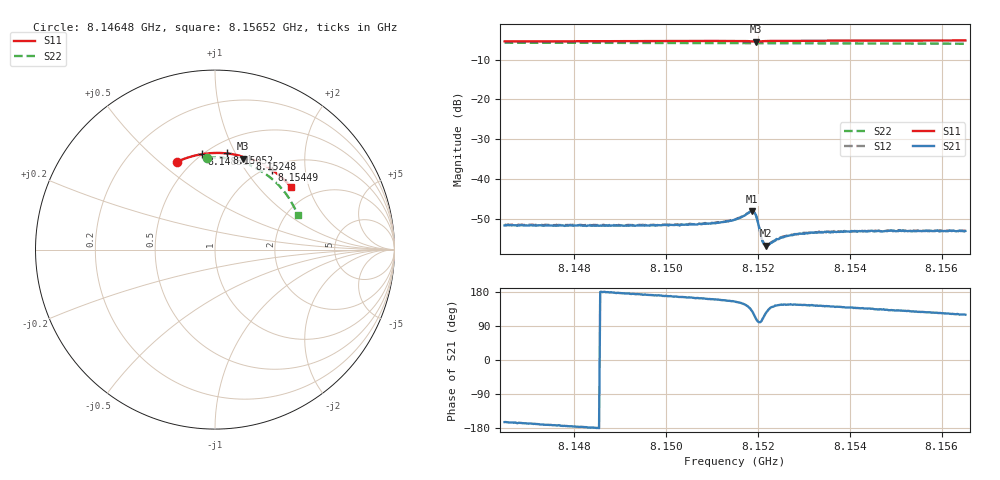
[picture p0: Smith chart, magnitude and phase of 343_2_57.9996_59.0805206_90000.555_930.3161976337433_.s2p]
#  HZ  S  RI  R  50.00
! Rohde & Schwarz Vector Network Analyzer
! Rohde-Schwarz,ZNB20-2Port,1311601062101988,3.16
! Created: UTC 3/21/2024, 1:05:42 AM
! freq[Hz]  re:S11  im:S11  re:S21  im:S21  re:S12  im:S12  re:S22  im:S22
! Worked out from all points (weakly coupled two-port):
!   401 points, 8.14648 GHz to 8.15652 GHz, reference 50 ohm
!   highest |S21| = -48.01 dB at 8.15188 GHz (marker M1); lowest = -56.7 dB at 8.15218 GHz (marker M2)
!   lowest |S11| = -5.5 dB at 8.15195 GHz (marker M3), VSWR 3.26, Z = 37.2 + j52.5 ohm
!   |S11| at or under -10 dB: nowhere
!   |S22| runs from -6.0 to -5.8 dB; largest |S21 - S12| = 0.00013
!   S11 on the Smith chart (normalised r, x): 8.14648 GHz: 0.42, +0.57; 8.14851 GHz: 0.50, +0.74; 8.15052 GHz: 0.61, +0.92; 8.15248 GHz: 0.78, +1.11; 8.15449 GHz: 1.06, +1.34; 8.15652 GHz: 1.52, +1.53
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8.14648e9  -0.2106 0.4894  -0.00253 -0.000735  -0.0026 -0.000705  -0.0443 0.5121
8.148162e9  -0.0993 0.5267  -0.00261 -0.000168  -0.00266 -0.000107  0.0656 0.508
8.148513e9  -0.0752 0.5312  -0.00263 -3.98e-05  -0.00267 8.03e-06  0.0883 0.5042
8.149843e9  0.017 0.5386  -0.00262 0.000431  -0.00263 0.000461  0.171 0.4805
8.15052e9  0.0643 0.5361  -0.00261 0.0007  -0.00266 0.000763  0.211 0.4633
8.151123e9  0.1063 0.5302  -0.00266 0.001  -0.00267 0.00109  0.245 0.4453
8.151499e9  0.133 0.5242  -0.00281 0.00138  -0.00279 0.00142  0.2656 0.4326
8.151876e9  0.1584 0.5098  -0.00245 0.00314  -0.00242 0.00318  0.2852 0.4188
8.151926e9  0.1586 0.507  -0.0017 0.00342  -0.00166 0.00347  0.2876 0.4169
8.151951e9  0.1581 0.5064  -0.00123 0.00335  -0.00119 0.00341  0.2887 0.4162
8.151976e9  0.1576 0.5066  -0.000835 0.00312  -0.000819 0.00315  0.29 0.4149
8.152076e9  0.1611 0.5106  -0.00041 0.00178  -0.000395 0.00179  0.295 0.4117
8.152101e9  0.163 0.5112  -0.000539 0.00156  -0.000507 0.00159  0.2964 0.4107
8.152127e9  0.1649 0.5115  -0.000628 0.00141  -0.000628 0.00147  0.2977 0.4097
8.152177e9  0.1691 0.5119  -0.000832 0.0012  -0.0008 0.00121  0.3003 0.4079
8.152227e9  0.1733 0.5115  -0.00101 0.0011  -0.00105 0.00111  0.3028 0.4059
8.152478e9  0.1918 0.5071  -0.0015 0.00103  -0.00151 0.00107  0.3153 0.3958
8.152854e9  0.2173 0.4979  -0.0017 0.00116  -0.00169 0.00116  0.3333 0.3799
8.153181e9  0.2384 0.4889  -0.00176 0.00124  -0.00174 0.00128  0.348 0.3659
8.154486e9  0.317 0.4443  -0.00161 0.00159  -0.00157 0.00159  0.4007 0.3033
8.154862e9  0.338 0.4292  -0.00149 0.0017  -0.0015 0.00168  0.4141 0.2839
8.156518e9  0.4211 0.3513  -0.0011 0.00195  -0.00113 0.00194  0.4605 0.192
